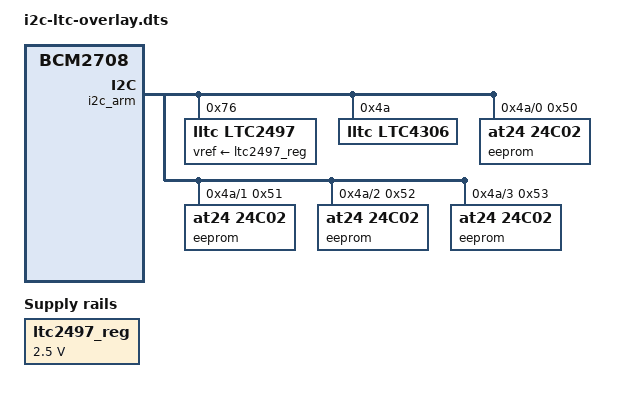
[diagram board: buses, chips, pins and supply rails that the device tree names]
/dts-v1/;
/plugin/;

/ {
	compatible = "brcm,bcm2708";

    fragment@0 {
	target-path="/";
	__overlay__ {
		ltc2497_reg: fixedregulator@0 {
		    compatible = "regulator-fixed";
		    regulator-name = "vref";
		    regulator-min-microvolt = <2500000>;
		    regulator-max-microvolt = <2500000>;
		};
	};
    };

	fragment@1 {
		target = <&i2c_arm>;
		__overlay__ {
			#address-cells = <1>;
			#size-cells = <0>;
			status = "okay";

			ltc2497: adc@76 {
				compatible = "lltc,ltc2497";
				reg = <0x76>;
				vref-supply = <&ltc2497_reg>;
				status = "okay";
			};

			ltc4306: mux@4a {
				compatible = "lltc,ltc4306";
				reg = <0x4a>;
				#address-cells = <1>;
				#size-cells = <0>;

				i2c@0 {
					#address-cells = <1>;
					#size-cells = <0>;
					reg = <0>;

					eeprom@50 {
						compatible = "at24,24c02";
						reg = <0x50>;
					};


				};
				i2c@1 {
					#address-cells = <1>;
					#size-cells = <0>;
					reg = <1>;
					eeprom@51 {
						compatible = "at24,24c02";
						reg = <0x51>;
					};


					};
				i2c@2 {
					#address-cells = <1>;
					#size-cells = <0>;
					reg = <2>;
					eeprom@52 {
						compatible = "at24,24c02";
						reg = <0x52>;
					};


					};
				i2c@3 {
					#address-cells = <1>;
					#size-cells = <0>;
					reg = <3>;
					eeprom@53 {
						compatible = "at24,24c02";
						reg = <0x53>;
					};

					};
			};
		};
	};

	__overrides__ {
		ltc4306 = <&ltc4306>,"status";
		ltc2497 = <&ltc2497>,"status";
	};
};
